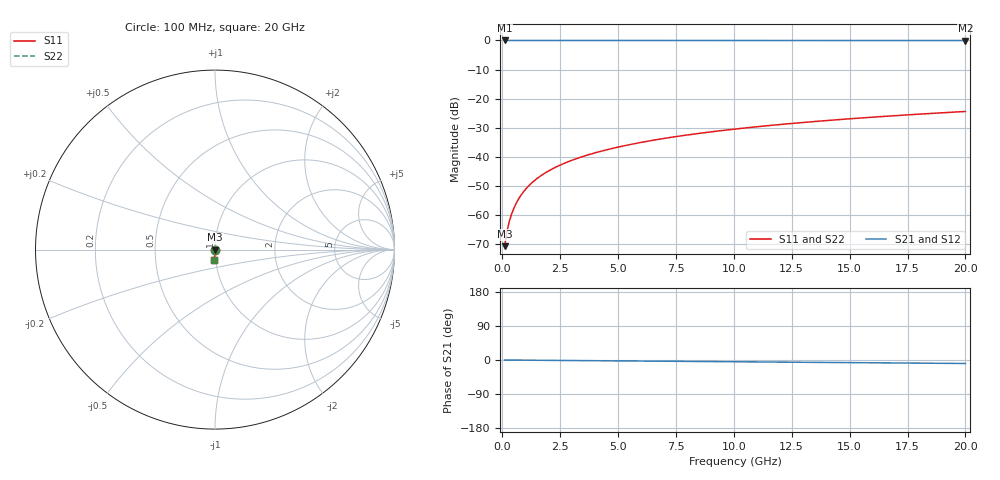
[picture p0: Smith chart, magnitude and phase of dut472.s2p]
! Touchstone file exported from HFSS 2026.1.0
!  File:  C:/ffzhzh/LocalFiles/Ansys_Project_Files/temp_train_TSV_472_1783022331_51716.aedt
!  Generated:  04:00:47 AM Jul  3, 2026
!  Design:  TSV
!  Project:  temp_train_TSV_472_1783022331_51716
! Variables:
!  h_bsmrdl = 2um
!  h_ox = 20um
!  h_rdl = 5um
!  h_sub = 92.1um
!  h_tmrdl = 5um
!  h_tsv = 92.1um
!  h_via = 3um
!  l_bsmrdl = 300um
!  l_sub = 419.14um
!  l_tmrdl = 200um
!  m_sub = 200um
!  pitch = 27.65um
!  r_tsv = 9.57um
!  s_tmrdl = 10um
!  w_bsmrdl = 18um
!  w_sub = 500um
!  w_tmrdl = 12um
!  x_tsv_center1 = 206um
!  x_tsv_center2 = 524um
!  x_tsv_center3 = 736um
!  x_tsv_center4 = 1054um
!  x_tsv_center5 = 1266um
!  x_tsv_center6 = 1584um
# GHz S MA R 50.000000
! Terminal data exported
! Port[1] = TSV1_1_T1
! Port[2] = TSV1_1_T2
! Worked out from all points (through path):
!   200 points, 100 MHz to 20 GHz, reference 50 ohm
!   highest |S21| = 0.00 dB at 100 MHz (marker M1); lowest = 0.0 dB at 20 GHz (marker M2)
!   group delay of S21, straight-line fit = 1.27 ps
!   lowest |S11| = -70.7 dB at 100 MHz (marker M3), VSWR 1.00, Z = 50 - j0.024 ohm
!   |S11| at or under -10 dB: start of sweep to end of sweep
!   |S22| runs from -70.7 to -24.4 dB; largest |S21 - S12| = 2e-15
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0.1  0.0002914 -55.5  0.9998 -0.0  0.9998 -0.0  0.0002914 -55.5
! Gamma 0 0 0 0
! Port Impedance 50 0 50 0
0.2  0.0005193 -69.2  0.9998 -0.1  0.9998 -0.1  0.0005193 -69.2
0.3  0.0007694 -74.0  0.9998 -0.1  0.9998 -0.1  0.0007694 -74.0
0.4  0.001033 -76.4  0.9998 -0.2  0.9998 -0.2  0.001033 -76.4
0.5  0.001307 -77.8  0.9997 -0.2  0.9997 -0.2  0.001307 -77.8
0.7  0.001876 -79.7  0.9997 -0.3  0.9997 -0.3  0.001876 -79.7
0.8  0.002167 -80.4  0.9996 -0.4  0.9996 -0.4  0.002167 -80.4
1  0.002756 -81.7  0.9996 -0.5  0.9996 -0.5  0.002756 -81.7
1.2  0.003349 -82.7  0.9995 -0.6  0.9995 -0.6  0.003349 -82.7
1.4  0.003943 -83.5  0.9995 -0.7  0.9995 -0.7  0.003943 -83.5
1.7  0.004834 -84.5  0.9995 -0.8  0.9995 -0.8  0.004834 -84.5
2  0.005726 -85.3  0.9994 -0.9  0.9994 -0.9  0.005726 -85.3
2.7  0.007807 -86.6  0.9993 -1.3  0.9993 -1.3  0.007807 -86.6
3.5  0.01019 -87.6  0.9992 -1.6  0.9992 -1.6  0.01019 -87.6
4.2  0.01229 -88.3  0.9991 -2.0  0.9991 -2.0  0.01229 -88.3
5  0.0147 -88.9  0.999 -2.3  0.999 -2.3  0.0147 -88.9
6.8  0.02014 -90.2  0.9988 -3.2  0.9988 -3.2  0.02014 -90.2
8.3  0.02469 -91.2  0.9986 -3.8  0.9986 -3.8  0.02469 -91.2
10.1  0.03016 -92.3  0.9983 -4.7  0.9983 -4.7  0.03016 -92.3
13.4  0.04019 -94.1  0.9978 -6.2  0.9978 -6.2  0.04019 -94.1
16.7  0.0502 -95.9  0.9971 -7.7  0.9971 -7.7  0.0502 -95.9
20  0.06019 -97.5  0.9964 -9.2  0.9964 -9.2  0.06019 -97.5
